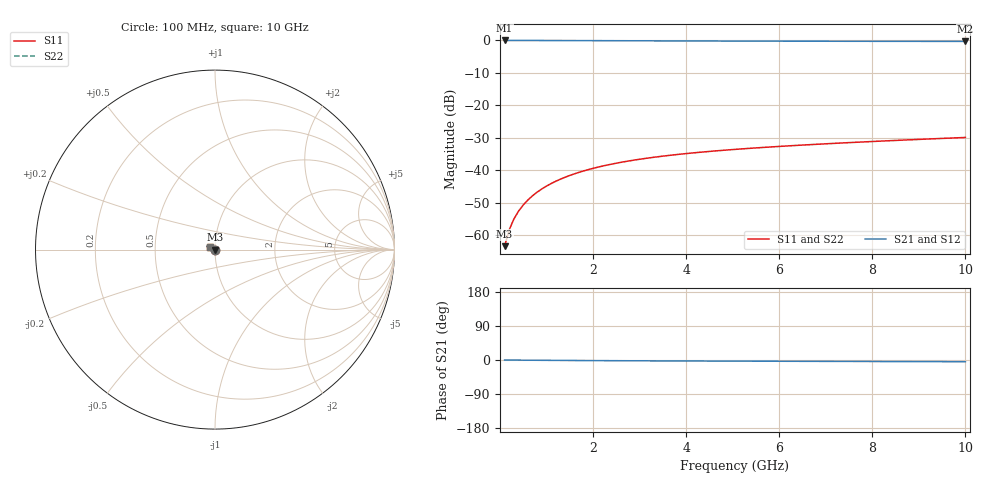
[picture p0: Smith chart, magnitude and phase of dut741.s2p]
! Touchstone file exported from HFSS 2024.1.0
!  File:  C:/UserFiles/LocalFiles/RDL_TSV_Batchsim/temp_TSV1_741_1779870197.aedt
!  Generated:  04:33:49 PM May 27, 2026
!  Design:  TSV1
!  Project:  temp_TSV1_741_1779870197
!  Setup:  Setup1
!  Solution:  Sweep
! Variables:
!  dtsv = 5.89um
!  hbump = 3um
!  htsv = 67.72um
!  lrdl = 252.1521522um
!  p = 40
!  p1 = 43.83um
!  t = 500um
!  trdl = 3um
!  wrdl = 24.89489489um
# GHz S MA R 50.000000
! Terminal data exported
! Port[1] = TSV22_T1
! Port[2] = TSV22_T2
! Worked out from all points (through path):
!   100 points, 100 MHz to 10 GHz, reference 50 ohm
!   highest |S21| = 0.00 dB at 100 MHz (marker M1); lowest = -0.3 dB at 10 GHz (marker M2)
!   lowest |S11| = -63.4 dB at 100 MHz (marker M3), VSWR 1.00, Z = 50 - j0.0583 ohm
!   |S11| at or under -10 dB: start of sweep to end of sweep
!   |S22| runs from -63.4 to -29.9 dB; largest |S21 - S12| = 4.6e-15
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0.1  0.0006783 -59.1  0.9996 -0.1  0.9996 -0.1  0.0006783 -59.1
! Gamma 0 0 0 0
! Port Impedance 50 0 50 0
0.2  0.001216 -76.0  0.9995 -0.2  0.9995 -0.2  0.001216 -76.0
0.3  0.001781 -83.7  0.9994 -0.3  0.9994 -0.3  0.001781 -83.7
0.4  0.002351 -88.6  0.9993 -0.4  0.9993 -0.4  0.002351 -88.6
0.5  0.002921 -92.4  0.9991 -0.4  0.9991 -0.4  0.002921 -92.4
0.6  0.003489 -95.6  0.9989 -0.5  0.9989 -0.5  0.003489 -95.6
0.7  0.004053 -98.4  0.9986 -0.6  0.9986 -0.6  0.004053 -98.4
0.8  0.004611 -101.0  0.9983 -0.7  0.9983 -0.7  0.004611 -101.0
0.9  0.005164 -103.4  0.998 -0.8  0.998 -0.8  0.005164 -103.4
1.1  0.00625 -107.9  0.9973 -0.9  0.9973 -0.9  0.00625 -107.9
1.4  0.007819 -114.2  0.996 -1.2  0.996 -1.2  0.007819 -114.2
1.6  0.008821 -118.1  0.995 -1.3  0.995 -1.3  0.008821 -118.1
1.8  0.009787 -121.8  0.994 -1.4  0.994 -1.4  0.009787 -121.8
2.1  0.01116 -127.2  0.9924 -1.6  0.9924 -1.6  0.01116 -127.2
2.5  0.01286 -133.9  0.9901 -1.9  0.9901 -1.9  0.01286 -133.9
2.9  0.01442 -140.2  0.9879 -2.1  0.9879 -2.1  0.01442 -140.2
3.4  0.01619 -147.4  0.9852 -2.3  0.9852 -2.3  0.01619 -147.4
4.2  0.01868 -157.6  0.9814 -2.7  0.9814 -2.7  0.01868 -157.6
5.1  0.02112 -167.7  0.9778 -3.0  0.9778 -3.0  0.02112 -167.7
6.7  0.02492 177.7  0.9729 -3.5  0.9729 -3.5  0.02492 177.7
8.4  0.02863 165.4  0.9694 -4.1  0.9694 -4.1  0.02863 165.4
10  0.03204 156.1  0.967 -4.6  0.967 -4.6  0.03204 156.1
